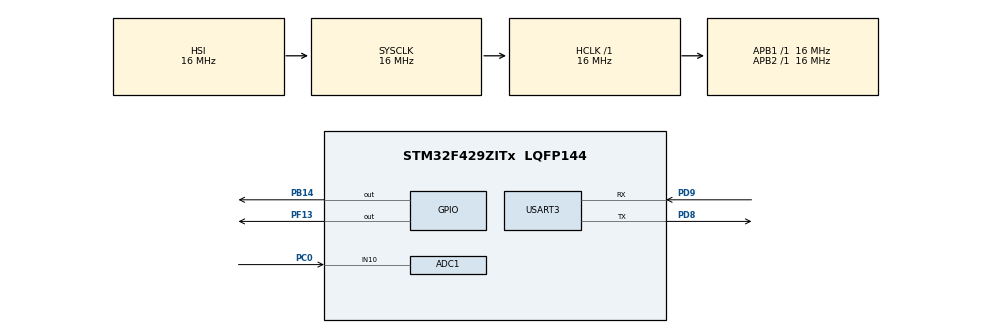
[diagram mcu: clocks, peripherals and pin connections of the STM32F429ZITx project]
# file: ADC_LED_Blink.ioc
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ADC1.Channel-2\#ChannelRegularConversion=ADC_CHANNEL_10
ADC1.NbrOfConversionFlag=1
ADC1.Rank-2\#ChannelRegularConversion=1
ADC1.Resolution=ADC_RESOLUTION_10B
ADC1.SamplingTime-2\#ChannelRegularConversion=ADC_SAMPLETIME_3CYCLES
ADC1.master=1
Mcu.Family=STM32F4
Mcu.Name=STM32F429ZITx
Mcu.Package=LQFP144
NVIC.ADC_IRQn=true\:0\:0\:false\:false\:true\:true\:true\:true
NVIC.PriorityGroup=NVIC_PRIORITYGROUP_4
NVIC.USART3_IRQn=true\:0\:0\:false\:false\:true\:true\:true\:true
PB14.Signal=GPIO_Output
PC0.Signal=ADCx_IN10
PD8.Mode=Asynchronous
PD8.Signal=USART3_TX
PD9.Mode=Asynchronous
PD9.Signal=USART3_RX
PF13.GPIO_PuPd=GPIO_PULLDOWN
PF13.Signal=GPIO_Output
ProjectManager.HeapSize=0x200
ProjectManager.StackSize=0x400
ProjectManager.TargetToolchain=STM32CubeIDE
RCC.AHBFreq_Value=16000000
RCC.APB1Freq_Value=16000000
RCC.APB2Freq_Value=16000000
RCC.CortexFreq_Value=16000000
RCC.HSE_VALUE=25000000
RCC.HSI_VALUE=16000000
RCC.LSE_VALUE=32768
RCC.SYSCLKFreq_VALUE=16000000
RCC.VCOOutputFreq_Value=192000000
SH.ADCx_IN10.0=ADC1_IN10,IN10
USART3.VirtualMode=VM_ASYNC
board=custom

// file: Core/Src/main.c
/* USER CODE BEGIN Header */
/**
  ******************************************************************************
  * @file           : main.c
  * @brief          : Main program body
  ******************************************************************************
  * @attention
  *
  * Copyright (c) 2023 STMicroelectronics.
  * All rights reserved.
  *
  * This software is licensed under terms that can be found in the LICENSE file
  * in the root directory of this software component.
  * If no LICENSE file comes with this software, it is provided AS-IS.
  *
  ******************************************************************************
  */
/* USER CODE END Header */
#include "main.h"

ADC_HandleTypeDef hadc1;

UART_HandleTypeDef huart3;

void SystemClock_Config(void);
static void MX_GPIO_Init(void);
static void MX_ADC1_Init(void);
static void MX_USART3_UART_Init(void);

/* USER CODE BEGIN 0 */
//printf를 사용하기 위해 _write() 함수를 재정의함.
int adc_value = 0;

int _write(int file, char *ptr, int len)
{
	HAL_UART_Transmit(&huart3, (uint8_t *)ptr, len, 500); //문자열을 보내는 것. 문자열의 주소를 받아서 문자열의 길이까지 같이 들어옴.

	return len;
}
int __io_putchar(int ch)
{
	HAL_UART_Transmit(&huart3, (uint8_t *)&ch, 1, 1000); //문자 하나를 보내는 것.
	return ch;
}

void HAL_ADC_ConvCpltCallback(ADC_HandleTypeDef* hadc)
{
	if(hadc -> Instance == ADC1)
	{
		adc_value = HAL_ADC_GetValue(&hadc1);
	}
}
/* USER CODE END 0 */

int main(void)
{

  /* MCU Configuration--------------------------------------------------------*/

  /* Reset of all peripherals, Initializes the Flash interface and the Systick. */
  HAL_Init();

  /* Configure the system clock */
  SystemClock_Config();

  /* Initialize all configured peripherals */
  MX_GPIO_Init();
  MX_ADC1_Init();
  MX_USART3_UART_Init();

  /* Infinite loop */
  /* USER CODE BEGIN WHILE */
  while (1)
  {
	  HAL_ADC_Start_IT(&hadc1); //가변저항의 값을 인터럽트로 발생될 때 마다 변수에 받고,
	  printf("ADC value: %d\r\n", adc_value); //출력
	  HAL_GPIO_TogglePin(GPIOF, GPIO_PIN_13); //외부 LED를 토글
	  HAL_GPIO_TogglePin(GPIOB, GPIO_PIN_14); //LD3를 토글
	  HAL_Delay(adc_value); //가변저항 값으로 딜레이를 걸어준다.

    /* USER CODE END WHILE */

  }
}

void SystemClock_Config(void)
{
  RCC_OscInitTypeDef RCC_OscInitStruct = {0};
  RCC_ClkInitTypeDef RCC_ClkInitStruct = {0};

  /** Configure the main internal regulator output voltage
  */
  __HAL_RCC_PWR_CLK_ENABLE();
  __HAL_PWR_VOLTAGESCALING_CONFIG(PWR_REGULATOR_VOLTAGE_SCALE3);

  /** Initializes the RCC Oscillators according to the specified parameters
  * in the RCC_OscInitTypeDef structure.
  */
  RCC_OscInitStruct.OscillatorType = RCC_OSCILLATORTYPE_HSI;
  RCC_OscInitStruct.HSIState = RCC_HSI_ON;
  RCC_OscInitStruct.HSICalibrationValue = RCC_HSICALIBRATION_DEFAULT;
  RCC_OscInitStruct.PLL.PLLState = RCC_PLL_NONE;
  if (HAL_RCC_OscConfig(&RCC_OscInitStruct) != HAL_OK)
  {
    Error_Handler();
  }

  /** Initializes the CPU, AHB and APB buses clocks
  */
  RCC_ClkInitStruct.ClockType = RCC_CLOCKTYPE_HCLK|RCC_CLOCKTYPE_SYSCLK
                              |RCC_CLOCKTYPE_PCLK1|RCC_CLOCKTYPE_PCLK2;
  RCC_ClkInitStruct.SYSCLKSource = RCC_SYSCLKSOURCE_HSI;
  RCC_ClkInitStruct.AHBCLKDivider = RCC_SYSCLK_DIV1;
  RCC_ClkInitStruct.APB1CLKDivider = RCC_HCLK_DIV1;
  RCC_ClkInitStruct.APB2CLKDivider = RCC_HCLK_DIV1;

  if (HAL_RCC_ClockConfig(&RCC_ClkInitStruct, FLASH_LATENCY_0) != HAL_OK)
  {
    Error_Handler();
  }
}

static void MX_ADC1_Init(void)
{

  ADC_ChannelConfTypeDef sConfig = {0};

  /** Configure the global features of the ADC (Clock, Resolution, Data Alignment and number of conversion)
  */
  hadc1.Instance = ADC1;
  hadc1.Init.ClockPrescaler = ADC_CLOCK_SYNC_PCLK_DIV2;
  hadc1.Init.Resolution = ADC_RESOLUTION_10B;
  hadc1.Init.ScanConvMode = DISABLE;
  hadc1.Init.ContinuousConvMode = DISABLE;
  hadc1.Init.DiscontinuousConvMode = DISABLE;
  hadc1.Init.ExternalTrigConvEdge = ADC_EXTERNALTRIGCONVEDGE_NONE;
  hadc1.Init.ExternalTrigConv = ADC_SOFTWARE_START;
  hadc1.Init.DataAlign = ADC_DATAALIGN_RIGHT;
  hadc1.Init.NbrOfConversion = 1;
  hadc1.Init.DMAContinuousRequests = DISABLE;
  hadc1.Init.EOCSelection = ADC_EOC_SINGLE_CONV;
  if (HAL_ADC_Init(&hadc1) != HAL_OK)
  {
    Error_Handler();
  }

  /** Configure for the selected ADC regular channel its corresponding rank in the sequencer and its sample time.
  */
  sConfig.Channel = ADC_CHANNEL_10;
  sConfig.Rank = 1;
  sConfig.SamplingTime = ADC_SAMPLETIME_3CYCLES;
  if (HAL_ADC_ConfigChannel(&hadc1, &sConfig) != HAL_OK)
  {
    Error_Handler();
  }

}

static void MX_USART3_UART_Init(void)
{

  huart3.Instance = USART3;
  huart3.Init.BaudRate = 115200;
  huart3.Init.WordLength = UART_WORDLENGTH_8B;
  huart3.Init.StopBits = UART_STOPBITS_1;
  huart3.Init.Parity = UART_PARITY_NONE;
  huart3.Init.Mode = UART_MODE_TX_RX;
  huart3.Init.HwFlowCtl = UART_HWCONTROL_NONE;
  huart3.Init.OverSampling = UART_OVERSAMPLING_16;
  if (HAL_UART_Init(&huart3) != HAL_OK)
  {
    Error_Handler();
  }

}

static void MX_GPIO_Init(void)
{
  GPIO_InitTypeDef GPIO_InitStruct = {0};

  /* GPIO Ports Clock Enable */
  __HAL_RCC_GPIOC_CLK_ENABLE();
  __HAL_RCC_GPIOF_CLK_ENABLE();
  __HAL_RCC_GPIOB_CLK_ENABLE();
  __HAL_RCC_GPIOD_CLK_ENABLE();

  /*Configure GPIO pin Output Level */
  HAL_GPIO_WritePin(GPIOF, GPIO_PIN_13, GPIO_PIN_RESET);

  /*Configure GPIO pin Output Level */
  HAL_GPIO_WritePin(GPIOB, GPIO_PIN_14, GPIO_PIN_RESET);

  /*Configure GPIO pin : PF13 */
  GPIO_InitStruct.Pin = GPIO_PIN_13;
  GPIO_InitStruct.Mode = GPIO_MODE_OUTPUT_PP;
  GPIO_InitStruct.Pull = GPIO_PULLDOWN;
  GPIO_InitStruct.Speed = GPIO_SPEED_FREQ_LOW;
  HAL_GPIO_Init(GPIOF, &GPIO_InitStruct);

  /*Configure GPIO pin : PB14 */
  GPIO_InitStruct.Pin = GPIO_PIN_14;
  GPIO_InitStruct.Mode = GPIO_MODE_OUTPUT_PP;
  GPIO_InitStruct.Pull = GPIO_NOPULL;
  GPIO_InitStruct.Speed = GPIO_SPEED_FREQ_LOW;
  HAL_GPIO_Init(GPIOB, &GPIO_InitStruct);

}

void Error_Handler(void)
{
  __disable_irq();
  while (1)
  {
  }
}
